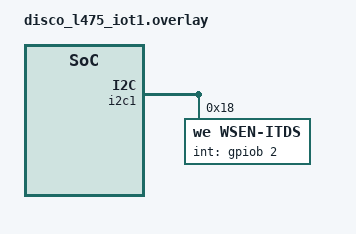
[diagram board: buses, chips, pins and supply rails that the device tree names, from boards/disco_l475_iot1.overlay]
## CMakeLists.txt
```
# SPDX-License-Identifier: Apache-2.0

cmake_minimum_required(VERSION 3.13.1)
find_package(Zephyr HINTS $ENV{ZEPHYR_BASE})
project(wsen_itds)

target_sources(app PRIVATE src/main.c)
```

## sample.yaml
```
sample:
  name: WSEN-ITDS Sensor Sample
tests:
  sample.sensor.wsen-itds:
    harness: sensor
    tags: sensors
    depends_on: i2c gpio
    filter: dt_compat_enabled("we,wsen-itds")
```

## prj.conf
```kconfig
CONFIG_PRINTK=y
CONFIG_GPIO=y
CONFIG_I2C=y
CONFIG_SENSOR=y
CONFIG_ITDS=y
CONFIG_CBPRINTF_FP_SUPPORT=y
```

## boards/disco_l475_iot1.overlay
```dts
/*
 * Copyright (c) 2020, Linumiz
 *
 * SPDX-License-Identifier: Apache-2.0
 */

&i2c1 {
	itds@18 {
		compatible = "we,wsen-itds";
		reg = <0x18>;
		label = "WSEN-ITDS";
		int-gpios = <&gpiob 2 GPIO_ACTIVE_HIGH>;
		odr = "800";
		op-mode = "high-perf";
	};
};
```

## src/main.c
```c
/*
 * Copyright (c) 2020 Linumiz
 *
 * SPDX-License-Identifier: Apache-2.0
 */

#include <zephyr.h>

#include <sys/printk.h>
#include <sys_clock.h>
#include <stdio.h>

#include <device.h>
#include <drivers/sensor.h>
#include <drivers/i2c.h>

#define MAX_TEST_TIME	5000
#define SLEEPTIME	300

static void print_accl_data(const struct device *itds)
{
	struct sensor_value val[3];

	if (sensor_channel_get(itds, SENSOR_CHAN_ACCEL_XYZ, val) < 0) {
		printf("Cannot read itds accl channels.\n");
		return;
	}

	printf("Accl (m/s): X=%f, Y=%f, Z=%f\n",
		sensor_value_to_double(&val[0]),
		sensor_value_to_double(&val[1]),
		sensor_value_to_double(&val[2]));
}

static void print_temp_data(const struct device *itds)
{
	struct sensor_value val;

	if (sensor_channel_get(itds, SENSOR_CHAN_DIE_TEMP, &val) < 0) {
		printf("Temperature channel read error.\n");
		return;
	}

	printf("Temperature (Celsius): %f\n",
		sensor_value_to_double(&val));
}

static void test_polling_mode(const struct device *itds)
{
	int32_t remaining_test_time = MAX_TEST_TIME;

	do {
		if (sensor_sample_fetch(itds) < 0) {
			printf("accl sample update error.\n");
		} else {
			print_accl_data(itds);

			print_temp_data(itds);
		}

		/* wait a while */
		k_sleep(K_MSEC(SLEEPTIME));

		remaining_test_time -= SLEEPTIME;
	} while (remaining_test_time > 0);
}

#if defined(CONFIG_ITDS_TRIGGER)
static void trigger_handler(const struct device *itds,
			    struct sensor_trigger *trigger)
{
	switch (trigger->type) {
	case SENSOR_TRIG_DATA_READY:
		printf("Data ready.\n");
		if (sensor_sample_fetch(itds) < 0) {
			printf("sample update error.\n");
		} else {
			print_accl_data(itds);
		}
		return;

	default:
		printf("trigger handler: unknown trigger type.\n");
		return;
	}
}
#endif

static void test_trigger_mode(const struct device *itds)
{
#if defined(CONFIG_ITDS_TRIGGER)
	struct sensor_trigger trig;
	struct sensor_value attr;

	printf("Testing data ready trigger.\n");

	attr.val1 = 400;
	attr.val2 = 0;

	if (sensor_attr_set(itds, SENSOR_CHAN_ACCEL_XYZ,
			    SENSOR_ATTR_SAMPLING_FREQUENCY, &attr) < 0) {
		printf("cannot set sampling frequency.\n");
		return;
	}

	trig.type = SENSOR_TRIG_DATA_READY;
	trig.chan = SENSOR_CHAN_ACCEL_XYZ;

	if (sensor_trigger_set(itds, &trig, trigger_handler) < 0) {
		printf("cannot set trigger.\n");
		return;
	}

	k_sleep(K_MSEC(MAX_TEST_TIME));

	trig.type = SENSOR_TRIG_DATA_READY;
	trig.chan = SENSOR_CHAN_ACCEL_XYZ;
	if (sensor_trigger_set(itds, &trig, NULL) < 0) {
		printf("cannot clear trigger.\n");
		return;
	}

	printf("Data ready trigger test finished.\n");
#endif

}

void main(void)
{
	const struct device *itds;
	struct sensor_value attr;

	printf("get device wsen-itds\n");
	itds = device_get_binding(DT_LABEL(DT_INST(0, we_wsen_itds)));
	if (!itds) {
		printf("Device not found.\n");
		return;
	}

	/*
	 * Set accl range to +/- 16 G. Since the sensor API needs SI
	 * units, convert the range to rad/s.
	 */
	sensor_g_to_ms2(4, &attr);

	if (sensor_attr_set(itds, SENSOR_CHAN_ACCEL_XYZ,
			    SENSOR_ATTR_FULL_SCALE, &attr) < 0) {
		printf("Cannot set accl range.\n");
		return;
	}

	printf("Testing the polling mode.\n");
	test_polling_mode(itds);
	printf("Polling mode test finished.\n");

	printf("Testing the trigger mode.\n");
	test_trigger_mode(itds);
	printf("Trigger mode test finished.\n");
}
```
